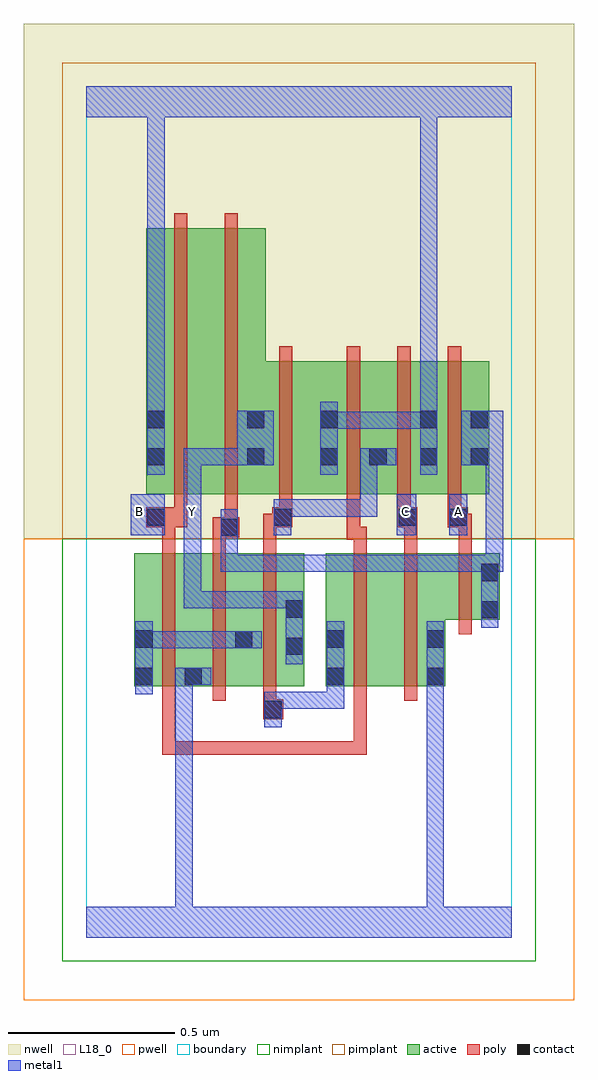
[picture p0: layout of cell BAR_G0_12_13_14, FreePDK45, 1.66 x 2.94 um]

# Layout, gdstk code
import gdstk
lib = gdstk.Library(unit=1e-6, precision=1e-09)
def R(c, l, rs):  # rectangles x0, y0, x1, y1
    for r in rs: c.add(gdstk.rectangle(r[:2], r[2:], *l))
def A(c, l, x, y, w, h, nx, ny, dx, dy):  # array of equal rectangles
    R(c, l, [(x+i*dx, y+j*dy, x+i*dx+w, y+j*dy+h) for i in range(nx) for j in range(ny)])
active = (1, 0)
pwell = (2, 0)
nwell = (3, 0)
nimplant = (4, 0)
pimplant = (5, 0)
poly = (9, 0)
contact = (10, 0)
metal1 = (11, 0)
L18_0 = (18, 0)
boundary = (235, 0)

bar_g0_12_13_14 = lib.new_cell('BAR_G0_12_13_14')
R(bar_g0_12_13_14, active, [(0.144,0.756,0.204,1.156), (0.144,0.756,0.352,1.156), (0.292,0.756,0.504,1.156), (0.292,0.756,0.352,0.816), (0.444,0.756,0.656,1.156), (0.444,0.756,0.504,0.926), (0.596,0.756,0.656,1.156), (0.72,0.756,0.9,1.156), (0.72,0.756,0.78,1.156), (0.9,0.756,1.08,1.156), (1.02,0.756,1.08,0.956), (1.02,0.956,1.244,1.156), (1.184,0.956,1.244,1.156), (0.18,1.334,0.36,2.134), (0.18,1.334,0.24,2.044), (0.36,1.334,0.54,2.134), (0.48,1.334,0.76,1.734), (0.48,1.334,0.54,2.134), (0.7,1.334,0.908,1.734), (0.848,1.334,1.06,1.734), (1,1.334,1.212,1.734), (1.152,1.334,1.212,1.644), (0.7,1.416,0.76,1.644), (0.848,1.416,0.908,1.644), (1,1.416,1.06,1.644)])
R(bar_g0_12_13_14, pwell, [(-0.188,-0.188,1.468,1.2)])
R(bar_g0_12_13_14, nwell, [(-0.188,1.2,1.468,2.748)])
R(bar_g0_12_13_14, nimplant, [(-0.072,-0.072,1.352,1.2)])
R(bar_g0_12_13_14, pimplant, [(-0.072,1.2,1.352,2.632)])
A(bar_g0_12_13_14, poly, 0.228, 0.712, 0.04, 0.488, 3, 1, 0.152, 0)
A(bar_g0_12_13_14, poly, 0.784, 1.29, 0.04, 0.488, 3, 1, 0.152, 0)
R(bar_g0_12_13_14, poly, [(0.228,0.55,0.268,0.59), (0.228,0.55,0.268,0.59), (0.228,0.55,0.268,0.59), (0.228,0.55,0.268,0.752), (0.228,0.55,0.41,0.59), (0.37,0.55,0.41,0.59), (0.37,0.55,0.41,0.59), (0.37,0.55,0.41,0.59), (0.37,0.55,0.41,0.59), (0.37,0.55,0.41,0.59), (0.37,0.55,0.612,0.59), (0.572,0.55,0.612,0.59), (0.572,0.55,0.718,0.59), (0.678,0.55,0.718,0.59), (0.678,0.55,0.718,0.59), (0.678,0.55,0.718,0.59), (0.678,0.55,0.718,0.59), (0.678,0.55,0.718,0.59), (0.678,0.55,0.844,0.59), (0.804,0.55,0.844,0.59), (0.804,0.55,0.844,0.752), (0.532,0.656,0.592,0.716), (0.532,0.676,0.572,0.752), (0.804,0.712,0.844,1.2), (0.956,0.712,0.996,1.2), (1.12,0.912,1.16,1.2), (0.228,1.16,0.268,1.274), (0.38,1.16,0.42,1.244), (0.532,1.16,0.572,1.274), (0.804,1.16,0.844,1.236), (0.956,1.16,0.996,1.274), (1.12,1.16,1.16,1.274), (0.784,1.196,0.824,1.236), (0.784,1.196,0.824,1.236), (0.784,1.196,0.824,1.33), (0.784,1.196,0.844,1.236), (0.38,1.204,0.46,1.264), (0.416,1.224,0.456,1.264), (0.416,1.224,0.456,1.264), (0.416,1.224,0.456,1.33), (0.18,1.234,0.304,1.294), (0.228,1.234,0.268,1.274), (0.228,1.234,0.268,1.274), (0.532,1.234,0.6,1.274), (0.56,1.234,0.6,1.274), (0.56,1.234,0.62,1.294), (0.936,1.234,0.996,1.294), (0.956,1.234,0.996,1.274), (0.956,1.234,0.996,1.274), (1.088,1.234,1.148,1.294), (1.108,1.234,1.148,1.274), (1.108,1.234,1.16,1.274), (0.264,1.254,0.304,1.33), (0.58,1.254,0.62,1.33), (0.936,1.254,0.976,1.33), (1.088,1.254,1.128,1.33), (0.264,1.29,0.304,2.178), (0.416,1.29,0.456,2.178), (0.58,1.29,0.62,1.778)])
A(bar_g0_12_13_14, contact, 0.852, 1.42, 0.052, 0.052, 3, 1, 0.152, 0)
R(bar_g0_12_13_14, contact, [(0.536,0.66,0.588,0.712), (0.148,0.76,0.2,0.812), (0.296,0.76,0.348,0.812), (0.724,0.76,0.776,0.812), (1.024,0.76,1.076,0.812), (0.6,0.85,0.652,0.902), (0.448,0.87,0.5,0.922), (0.148,0.872,0.2,0.924), (0.724,0.872,0.776,0.924), (1.024,0.872,1.076,0.924), (1.188,0.96,1.24,1.012), (0.6,0.962,0.652,1.014), (1.188,1.072,1.24,1.124), (0.404,1.208,0.456,1.26), (0.184,1.238,0.236,1.29), (0.564,1.238,0.616,1.29), (0.94,1.238,0.992,1.29), (1.092,1.238,1.144,1.29), (0.184,1.42,0.236,1.472), (0.484,1.42,0.536,1.472), (0.704,1.42,0.756,1.472), (0.184,1.532,0.236,1.584), (0.484,1.532,0.536,1.584), (0.704,1.532,0.756,1.584), (1.004,1.532,1.056,1.584), (1.156,1.532,1.208,1.584)])
R(bar_g0_12_13_14, metal1, [(0,0,1.28,0.092), (0.268,0.04,0.32,0.092), (0.268,0.04,0.32,0.092), (0.268,0.04,0.32,0.812), (1.024,0.04,1.076,0.092), (1.024,0.04,1.076,0.092), (1.024,0.04,1.076,0.784), (0.536,0.632,0.588,0.74), (0.536,0.688,0.756,0.74), (0.704,0.688,0.756,0.74), (0.704,0.688,0.776,0.74), (0.724,0.688,0.776,0.74), (0.724,0.688,0.776,0.784), (0.148,0.732,0.2,0.952), (0.724,0.732,0.776,0.952), (1.024,0.732,1.076,0.784), (1.024,0.732,1.076,0.784), (1.024,0.732,1.076,0.784), (1.024,0.732,1.076,0.784), (1.024,0.732,1.076,0.784), (1.024,0.732,1.076,0.784), (1.024,0.732,1.076,0.784), (1.024,0.732,1.076,0.784), (1.024,0.732,1.076,0.784), (1.024,0.732,1.076,0.784), (1.024,0.732,1.076,0.952), (0.268,0.76,0.32,0.812), (0.268,0.76,0.32,0.812), (0.268,0.76,0.32,0.812), (0.268,0.76,0.32,0.812), (0.268,0.76,0.32,0.812), (0.268,0.76,0.32,0.812), (0.268,0.76,0.32,0.812), (0.268,0.76,0.32,0.812), (0.268,0.76,0.32,0.812), (0.268,0.76,0.32,0.812), (0.268,0.76,0.376,0.812), (0.6,0.822,0.652,1.042), (0.148,0.87,0.2,0.922), (0.148,0.87,0.2,0.922), (0.148,0.87,0.346,0.922), (0.294,0.87,0.346,0.922), (0.294,0.87,0.472,0.922), (0.42,0.87,0.472,0.922), (0.42,0.87,0.472,0.922), (0.42,0.87,0.528,0.922), (1.188,0.932,1.24,1.152), (0.294,0.99,0.346,1.042), (0.294,0.99,0.346,1.042), (0.294,0.99,0.346,1.042), (0.294,0.99,0.456,1.042), (0.294,0.99,0.346,1.278), (0.404,0.99,0.456,1.042), (0.404,0.99,0.582,1.042), (0.53,0.99,0.582,1.042), (0.53,0.99,0.652,1.042), (0.404,1.1,0.582,1.152), (0.404,1.1,0.456,1.232), (0.53,1.1,0.582,1.152), (0.53,1.1,0.726,1.152), (0.674,1.1,0.726,1.152), (0.674,1.1,0.726,1.152), (0.674,1.1,0.726,1.152), (0.674,1.1,0.866,1.152), (0.814,1.1,0.866,1.152), (0.814,1.1,0.866,1.152), (0.814,1.1,0.866,1.152), (0.814,1.1,0.986,1.152), (0.934,1.1,0.986,1.152), (0.934,1.1,0.986,1.152), (0.934,1.1,0.986,1.152), (0.934,1.1,1.24,1.152), (1.188,1.1,1.24,1.152), (1.188,1.1,1.24,1.152), (1.188,1.1,1.24,1.152), (1.188,1.1,1.254,1.152), (1.202,1.1,1.254,1.472), (0.404,1.18,0.456,1.232), (0.404,1.18,0.456,1.288), (0.134,1.21,0.236,1.334), (0.564,1.21,0.616,1.318), (0.934,1.21,0.992,1.334), (1.092,1.21,1.146,1.334), (0.294,1.226,0.346,1.334), (0.564,1.266,0.756,1.318), (0.704,1.266,0.756,1.318), (0.704,1.266,0.756,1.318), (0.704,1.266,0.756,1.318), (0.704,1.266,0.876,1.318), (0.824,1.266,0.876,1.318), (0.824,1.266,0.876,1.318), (0.824,1.266,0.876,1.318), (0.824,1.266,0.876,1.472), (0.294,1.282,0.346,1.472), (0.184,1.392,0.236,1.612), (0.704,1.392,0.756,1.612), (1.004,1.392,1.056,1.612), (0.294,1.42,0.346,1.472), (0.294,1.42,0.346,1.472), (0.294,1.42,0.346,1.472), (0.294,1.42,0.506,1.472), (0.454,1.42,0.506,1.472), (0.454,1.42,0.506,1.472), (0.454,1.42,0.564,1.584), (0.824,1.42,0.932,1.472), (1.128,1.42,1.254,1.584), (1.202,1.42,1.254,1.472), (1.202,1.42,1.254,1.472), (0.704,1.53,0.866,1.582), (0.814,1.53,0.866,1.582), (0.814,1.53,0.866,1.582), (0.814,1.53,0.866,1.582), (0.814,1.53,0.986,1.582), (0.934,1.53,0.986,1.582), (0.934,1.53,1.056,1.582), (0.184,1.56,0.236,2.52), (1.004,1.56,1.056,1.612), (1.004,1.56,1.056,1.612), (1.004,1.56,1.056,1.612), (1.004,1.56,1.056,1.612), (1.004,1.56,1.056,1.612), (1.004,1.56,1.056,1.612), (1.004,1.56,1.056,1.612), (1.004,1.56,1.056,1.612), (1.004,1.56,1.056,1.612), (1.004,1.56,1.056,1.612), (1.004,1.56,1.056,1.612), (1.004,1.56,1.056,1.612), (1.004,1.56,1.056,1.612), (1.004,1.56,1.056,1.612), (1.004,1.56,1.056,1.612), (1.004,1.56,1.056,1.612), (1.004,1.56,1.056,2.52), (0,2.468,1.28,2.56), (0.184,2.468,0.236,2.52), (0.184,2.468,0.236,2.52), (0.184,2.468,0.236,2.52), (0.184,2.468,0.236,2.52), (0.184,2.468,0.236,2.52), (0.184,2.468,0.236,2.52), (0.184,2.468,0.236,2.52), (0.184,2.468,0.236,2.52)])
R(bar_g0_12_13_14, L18_0, [(0,0,1.28,0.092), (0.268,0.04,0.32,0.092), (0.268,0.04,0.32,0.092), (0.268,0.04,0.32,0.812), (1.024,0.04,1.076,0.092), (1.024,0.04,1.076,0.092), (1.024,0.04,1.076,0.784), (1.024,0.732,1.076,0.952), (1.024,0.732,1.076,0.784), (1.024,0.732,1.076,0.784), (1.024,0.732,1.076,0.784), (1.024,0.732,1.076,0.784), (1.024,0.732,1.076,0.784), (1.024,0.732,1.076,0.784), (1.024,0.732,1.076,0.784), (1.024,0.732,1.076,0.784), (1.024,0.732,1.076,0.784), (1.024,0.732,1.076,0.784), (0.268,0.76,0.32,0.812), (0.268,0.76,0.32,0.812), (0.268,0.76,0.32,0.812), (0.268,0.76,0.32,0.812), (0.268,0.76,0.32,0.812), (0.268,0.76,0.32,0.812), (0.268,0.76,0.32,0.812), (0.268,0.76,0.32,0.812), (0.268,0.76,0.32,0.812), (0.268,0.76,0.32,0.812), (0.268,0.76,0.376,0.812), (0.6,0.822,0.652,1.042), (0.294,0.99,0.346,1.042), (0.294,0.99,0.346,1.042), (0.294,0.99,0.346,1.042), (0.294,0.99,0.346,1.278), (0.294,0.99,0.456,1.042), (0.404,0.99,0.456,1.042), (0.404,0.99,0.582,1.042), (0.53,0.99,0.582,1.042), (0.53,0.99,0.652,1.042), (0.134,1.21,0.236,1.334), (0.934,1.21,0.992,1.334), (1.092,1.21,1.146,1.334), (0.294,1.226,0.346,1.334), (0.134,1.254,0.186,1.306), (0.294,1.254,0.346,1.306), (0.934,1.254,0.986,1.306), (1.094,1.254,1.146,1.306), (0.294,1.282,0.346,1.472), (0.184,1.392,0.236,1.612), (0.704,1.392,0.756,1.612), (1.004,1.392,1.056,1.612), (0.294,1.42,0.346,1.472), (0.294,1.42,0.346,1.472), (0.294,1.42,0.346,1.472), (0.294,1.42,0.506,1.472), (0.454,1.42,0.506,1.472), (0.454,1.42,0.506,1.472), (0.454,1.42,0.564,1.584), (0.704,1.53,0.866,1.582), (0.814,1.53,0.866,1.582), (0.814,1.53,0.866,1.582), (0.814,1.53,0.866,1.582), (0.814,1.53,0.986,1.582), (0.934,1.53,0.986,1.582), (0.934,1.53,1.056,1.582), (0.184,1.56,0.236,2.52), (1.004,1.56,1.056,1.612), (1.004,1.56,1.056,1.612), (1.004,1.56,1.056,1.612), (1.004,1.56,1.056,1.612), (1.004,1.56,1.056,1.612), (1.004,1.56,1.056,1.612), (1.004,1.56,1.056,1.612), (1.004,1.56,1.056,1.612), (1.004,1.56,1.056,1.612), (1.004,1.56,1.056,1.612), (1.004,1.56,1.056,1.612), (1.004,1.56,1.056,1.612), (1.004,1.56,1.056,1.612), (1.004,1.56,1.056,1.612), (1.004,1.56,1.056,1.612), (1.004,1.56,1.056,1.612), (1.004,1.56,1.056,2.52), (0,2.468,1.28,2.56), (0.184,2.468,0.236,2.52), (0.184,2.468,0.236,2.52), (0.184,2.468,0.236,2.52), (0.184,2.468,0.236,2.52), (0.184,2.468,0.236,2.52), (0.184,2.468,0.236,2.52), (0.184,2.468,0.236,2.52), (0.184,2.468,0.236,2.52)])
R(bar_g0_12_13_14, boundary, [(0,0,1.28,2.56)])
bar_g0_12_13_14.add(gdstk.Label('A', (1.12,1.28), layer=11, texttype=0))
bar_g0_12_13_14.add(gdstk.Label('B', (0.16,1.28), layer=11, texttype=0))
bar_g0_12_13_14.add(gdstk.Label('C', (0.96,1.28), layer=11, texttype=0))
bar_g0_12_13_14.add(gdstk.Label('Y', (0.32,1.28), layer=11, texttype=0))

lib.write_gds('BAR_G0_12_13_14.gds')
